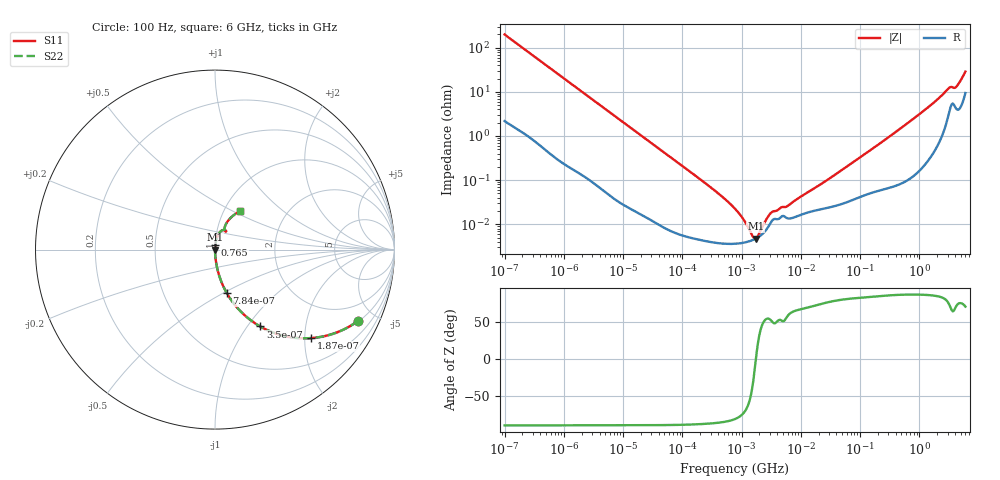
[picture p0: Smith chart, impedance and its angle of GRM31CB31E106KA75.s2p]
!Murata Part Number: GRM31CB31E106KA75
!These Parameters are Measured in Series Mode Connection
!Data Generated on Mar 30, 2021
!  o--ll--o
!Port1  Port2
!  o------o
!Operation Temp=25[degC], DC Bias Voltage=0[V]
!Freq. Start=100[Hz] Stop=6[GHz] 401[Steps]
# Hz S RI R 50
!Freq.(Hz) S11(Real) S11(Imag) S21(Real) S21(Imag) S12(Real) S12(Imag) S22(Real) S22(Imag)
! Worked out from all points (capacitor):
!   401 points, 100 Hz to 6 GHz, reference 50 ohm
!   read as one part in series: C = 7.93 uF near 109 Hz
!   lowest |Z| = 4.73 mohm at 1.734 MHz (marker M1)
!   series resonance near 1.744 MHz, so ESL is about 1 nH
!   S11 on the Smith chart (normalised r, x): 100 Hz: 1.04, -4.00; 187 Hz: 1.03, -2.15; 350 Hz: 1.01, -1.15; 784 Hz: 1.01, -0.52; 765 MHz: 1.00, +0.05; 6 GHz: 1.19, +0.54
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100  0.7976 -0.3964  0.2024 0.3964  0.2024 0.3964  0.7976 -0.3964
187  0.5351 -0.4929  0.4649 0.4929  0.4649 0.4929  0.5351 -0.4929
350  0.2523 -0.4283  0.7477 0.4283  0.7477 0.4283  0.2523 -0.4283
524  0.133 -0.3338  0.867 0.3338  0.867 0.3338  0.133 -0.3338
784  0.0653 -0.2415  0.9347 0.2415  0.9347 0.2415  0.0653 -0.2415
2008  0.0115 -0.1006  0.9885 0.1006  0.9885 0.1006  0.0115 -0.1006
6433  0.00144 -0.0321  0.9986 0.0321  0.9986 0.0321  0.00144 -0.0321
40335  0.000124 -0.0052  0.9999 0.0052  0.9999 0.0052  0.000124 -0.0052
330837  3.92e-05 -0.000621  1 0.000621  1 0.000621  3.92e-05 -0.000621
774597  3.63e-05 -0.000222  1 0.000222  1 0.000222  3.63e-05 -0.000222
1212075  3.96e-05 -9.18e-05  1 9.18e-05  1 9.18e-05  3.96e-05 -9.18e-05
1734173  4.73e-05 -1.4e-06  1 1.4e-06  1 1.4e-06  4.73e-05 -1.4e-06
2268635  6.09e-05 6.68e-05  0.9999 -6.68e-05  0.9999 -6.68e-05  6.09e-05 6.68e-05
3245845  0.000119 0.000147  0.9999 -0.000147  0.9999 -0.000147  0.000119 0.000147
6075234  0.000136 0.000226  0.9999 -0.000226  0.9999 -0.000226  0.000136 0.000226
1.555665e7  0.000198 0.000578  0.9998 -0.000578  0.9998 -0.000578  0.000198 0.000578
3.124326e8  0.000763 0.00966  0.9992 -0.00966  0.9992 -0.00966  0.000763 0.00966
7.650043e8  0.00174 0.0236  0.9983 -0.0236  0.9983 -0.0236  0.00174 0.0236
1.712697e9  0.00706 0.0548  0.9929 -0.0548  0.9929 -0.0548  0.00706 0.0548
3.065283e9  0.0386 0.1065  0.9614 -0.1065  0.9614 -0.1065  0.0386 0.1065
4.193612e9  0.0531 0.1119  0.9469 -0.1119  0.9469 -0.1119  0.0531 0.1119
6e9  0.1393 0.214  0.8607 -0.214  0.8607 -0.214  0.1393 0.214
